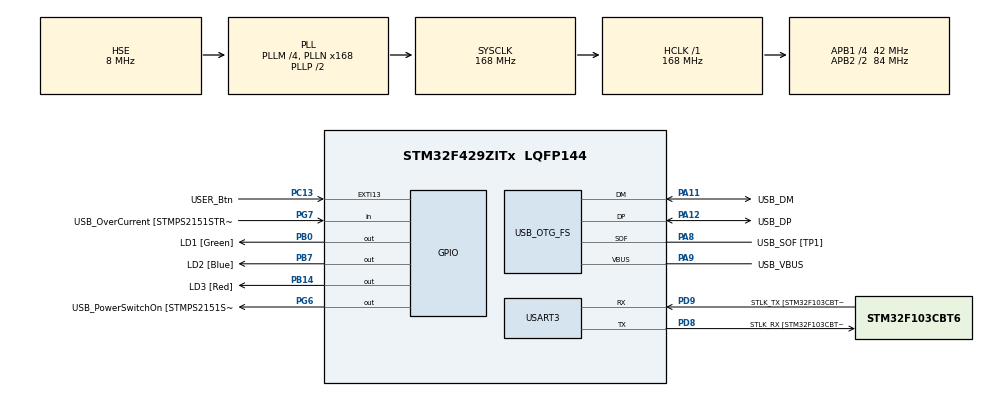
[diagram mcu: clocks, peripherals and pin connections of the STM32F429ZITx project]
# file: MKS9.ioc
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Mcu.Family=STM32F4
Mcu.Name=STM32F429ZITx
Mcu.Package=LQFP144
NVIC.OTG_FS_IRQn=true\:0\:0\:false\:false\:true\:false\:true\:true
NVIC.PriorityGroup=NVIC_PRIORITYGROUP_4
PA1.GPIO_Label=RMII_REF_CLK [LAN8742A-CZ-TR_REFCLK0]
PA1.Signal=ETH_REF_CLK
PA10.GPIO_Label=USB_ID
PA10.Signal=USB_OTG_FS_ID
PA11.GPIO_Label=USB_DM
PA11.Mode=Device_Only
PA11.Signal=USB_OTG_FS_DM
PA12.GPIO_Label=USB_DP
PA12.Mode=Device_Only
PA12.Signal=USB_OTG_FS_DP
PA13.GPIO_Label=TMS
PA13.Mode=Serial_Wire
PA13.Signal=SYS_JTMS-SWDIO
PA14.GPIO_Label=TCK
PA14.Mode=Serial_Wire
PA14.Signal=SYS_JTCK-SWCLK
PA2.GPIO_Label=RMII_MDIO [LAN8742A-CZ-TR_MDIO]
PA2.Signal=ETH_MDIO
PA7.GPIO_Label=RMII_CRS_DV [LAN8742A-CZ-TR_CRS_DV]
PA7.Signal=ETH_CRS_DV
PA8.GPIO_Label=USB_SOF [TP1]
PA8.Mode=Activate_SOF_FS
PA8.Signal=USB_OTG_FS_SOF
PA9.GPIO_Label=USB_VBUS
PA9.Mode=Activate_VBUS
PA9.Signal=USB_OTG_FS_VBUS
PB0.GPIO_Label=LD1 [Green]
PB0.Signal=GPIO_Output
PB13.GPIO_Label=RMII_TXD1 [LAN8742A-CZ-TR_TXD1]
PB13.Signal=ETH_TXD1
PB14.GPIO_Label=LD3 [Red]
PB14.Signal=GPIO_Output
PB7.GPIO_Label=LD2 [Blue]
PB7.Signal=GPIO_Output
PC1.GPIO_Label=RMII_MDC [LAN8742A-CZ-TR_MDC]
PC1.Signal=ETH_MDC
PC13.GPIO_Label=USER_Btn
PC13.Signal=GPXTI13
PC14/OSC32_IN.Mode=LSE-External-Oscillator
PC14/OSC32_IN.Signal=RCC_OSC32_IN
PC15/OSC32_OUT.Mode=LSE-External-Oscillator
PC15/OSC32_OUT.Signal=RCC_OSC32_OUT
PC4.GPIO_Label=RMII_RXD0 [LAN8742A-CZ-TR_RXD0]
PC4.Signal=ETH_RXD0
PC5.GPIO_Label=RMII_RXD1 [LAN8742A-CZ-TR_RXD1]
PC5.Signal=ETH_RXD1
PD8.GPIO_Label=STLK_RX [STM32F103CBT6_PA3]
PD8.Mode=Asynchronous
PD8.Signal=USART3_TX
PD9.GPIO_Label=STLK_TX [STM32F103CBT6_PA2]
PD9.Mode=Asynchronous
PD9.Signal=USART3_RX
PG11.GPIO_Label=RMII_TX_EN [LAN8742A-CZ-TR_TXEN]
PG11.Signal=ETH_TX_EN
PG13.GPIO_Label=RMII_TXD0 [LAN8742A-CZ-TR_TXD0]
PG13.Signal=ETH_TXD0
PG6.GPIO_Label=USB_PowerSwitchOn [STMPS2151STR_EN]
PG6.Signal=GPIO_Output
PG7.GPIO_Label=USB_OverCurrent [STMPS2151STR_FAULT]
PG7.Signal=GPIO_Input
PH0/OSC_IN.GPIO_Label=MCO [STM32F103CBT6_PA8]
PH0/OSC_IN.Mode=HSE-External-Clock-Source
PH0/OSC_IN.Signal=RCC_OSC_IN
PH1/OSC_OUT.Mode=HSE-External-Clock-Source
PH1/OSC_OUT.Signal=RCC_OSC_OUT
ProjectManager.HeapSize=0x200
ProjectManager.StackSize=0x400
ProjectManager.TargetToolchain=STM32CubeIDE
RCC.48MHZClocksFreq_Value=48000000
RCC.AHBFreq_Value=168000000
RCC.APB1CLKDivider=RCC_HCLK_DIV4
RCC.APB1Freq_Value=42000000
RCC.APB1TimFreq_Value=84000000
RCC.APB2CLKDivider=RCC_HCLK_DIV2
RCC.APB2Freq_Value=84000000
RCC.APB2TimCLKDivider=2
RCC.APB2TimFreq_Value=168000000
RCC.CortexFreq_Value=168000000
RCC.HCLKFreq_Value=168000000
RCC.HSE_VALUE=8000000
RCC.HSI_VALUE=16000000
RCC.PLLM=4
RCC.PLLMUL=RCC_PLL_MUL9
RCC.PLLN=168
RCC.PLLQ=7
RCC.PRESCALERUSB=RCC_USBCLKSOURCE_PLL_DIV1_5
RCC.SYSCLKFreq_VALUE=168000000
RCC.SYSCLKSource=RCC_SYSCLKSOURCE_PLLCLK
RCC.SYSCLKSourceVirtual=RCC_SYSCLKSOURCE_PLLCLK
RCC.USBFreq_Value=48000000
RCC.VCOOutputFreq_Value=336000000
USART3.VirtualMode=VM_ASYNC
USB_DEVICE.CLASS_NAME_FS=HID
USB_DEVICE.VirtualMode-HID_FS=Hid
USB_DEVICE.VirtualModeFS=Hid_FS
USB_OTG_FS.VirtualMode=Device_Only
VP_USB_DEVICE_VS_USB_DEVICE_HID_FS.Mode=HID_FS
board=NUCLEO-F429ZI

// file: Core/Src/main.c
/* USER CODE BEGIN Header */
/**
  ******************************************************************************
  * @file           : main.c
  * @brief          : Main program body
  ******************************************************************************
  * @attention
  *
  * Copyright (c) 2025 STMicroelectronics.
  * All rights reserved.
  *
  * This software is licensed under terms that can be found in the LICENSE file
  * in the root directory of this software component.
  * If no LICENSE file comes with this software, it is provided AS-IS.
  *
  ******************************************************************************
  */
/* USER CODE END Header */
#include "main.h"
#include "usb_device.h"

/* USER CODE BEGIN Includes */
#include "usbd_hid.h"
#include <math.h>
#include <stdbool.h>
/* USER CODE END Includes */

UART_HandleTypeDef huart3;

/* USER CODE BEGIN PV */
extern USBD_HandleTypeDef hUsbDeviceFS;

/* USER CODE END PV */

void SystemClock_Config(void);
static void MX_GPIO_Init(void);
static void MX_USART3_UART_Init(void);

int main(void)
{

  /* MCU Configuration--------------------------------------------------------*/

  /* Reset of all peripherals, Initializes the Flash interface and the Systick. */
  HAL_Init();

  /* Configure the system clock */
  SystemClock_Config();

  /* Initialize all configured peripherals */
  MX_GPIO_Init();
  MX_USART3_UART_Init();
  MX_USB_DEVICE_Init();
  /* USER CODE BEGIN 2 */

  void step(int x, int y, bool btn) {
	  uint8_t buff[4];
	  buff[0] = btn; // press the left button
	  buff[1] = (int8_t)(x); // shift X +10
	  buff[2] = (int8_t)(y); // shift Y -3
	  buff[3] = 0; // no scroll
	  USBD_HID_SendReport(&hUsbDeviceFS, buff, sizeof(buff));
	  HAL_Delay(USBD_HID_GetPollingInterval(&hUsbDeviceFS));
  }

  void circle(int16_t radius) {
	   int16_t sx = 0;
	   int16_t sy = 0;

	  for(uint16_t phi = 0; phi <= 360; phi += 3){
		  float x = radius*cosf(phi*3.14159/180);
		  float y = radius*sinf(phi*3.14159/180);
		  step((int8_t)(x-sx), (int8_t)(y-sy), 1);
		  sx = x;
		  sy = y;
	  }
	  step(0,0,0);

  }

  void mouth(int16_t radius) {
	  int16_t sx = radius;
	  int16_t sy = 0;

	  for(int16_t phi = 0; phi >= -180; phi -= 3){
		  float x = radius*cosf(phi*3.14159/180);
		  float y = -radius*sinf(phi*3.14159/180);
		  step((int8_t)(x-sx), (int8_t)(y-sy), 1);
		  sx = x;
		  sy = y;
	  }
	  step(0,0,0);

    }

  void smile(int16_t radius) {
	  circle(radius);
	  step(radius+50, 0, 1);
	  step(0, -radius/3, 1);
	  step(0,0,0);
	  step(radius, 0, 0);
	  circle(radius/10);
	  step(-radius, 0, 0);
	  circle(radius/10);
	  step(0, -radius, 0);
	  step(0,0,0);
	  HAL_Delay(50);
	  step(0,0,1);
	  mouth(radius/2);

	  //step(-radius/2, 0, 0);
	  //circle(radius/6);
	  //step(radius, 0, 0);
	  //circle(radius/6);
  }

  /* USER CODE END 2 */

  /* Infinite loop */
  /* USER CODE BEGIN WHILE */
  while (1)
  {
	  if(HAL_GPIO_ReadPin(USER_Btn_GPIO_Port, USER_Btn_Pin) == 1) {
		  smile(150);
	  }

    /* USER CODE END WHILE */

  }
}

void SystemClock_Config(void)
{
  RCC_OscInitTypeDef RCC_OscInitStruct = {0};
  RCC_ClkInitTypeDef RCC_ClkInitStruct = {0};

  /** Configure the main internal regulator output voltage
  */
  __HAL_RCC_PWR_CLK_ENABLE();
  __HAL_PWR_VOLTAGESCALING_CONFIG(PWR_REGULATOR_VOLTAGE_SCALE1);

  /** Initializes the RCC Oscillators according to the specified parameters
  * in the RCC_OscInitTypeDef structure.
  */
  RCC_OscInitStruct.OscillatorType = RCC_OSCILLATORTYPE_HSE;
  RCC_OscInitStruct.HSEState = RCC_HSE_BYPASS;
  RCC_OscInitStruct.PLL.PLLState = RCC_PLL_ON;
  RCC_OscInitStruct.PLL.PLLSource = RCC_PLLSOURCE_HSE;
  RCC_OscInitStruct.PLL.PLLM = 4;
  RCC_OscInitStruct.PLL.PLLN = 168;
  RCC_OscInitStruct.PLL.PLLP = RCC_PLLP_DIV2;
  RCC_OscInitStruct.PLL.PLLQ = 7;
  if (HAL_RCC_OscConfig(&RCC_OscInitStruct) != HAL_OK)
  {
    Error_Handler();
  }

  /** Initializes the CPU, AHB and APB buses clocks
  */
  RCC_ClkInitStruct.ClockType = RCC_CLOCKTYPE_HCLK|RCC_CLOCKTYPE_SYSCLK
                              |RCC_CLOCKTYPE_PCLK1|RCC_CLOCKTYPE_PCLK2;
  RCC_ClkInitStruct.SYSCLKSource = RCC_SYSCLKSOURCE_PLLCLK;
  RCC_ClkInitStruct.AHBCLKDivider = RCC_SYSCLK_DIV1;
  RCC_ClkInitStruct.APB1CLKDivider = RCC_HCLK_DIV4;
  RCC_ClkInitStruct.APB2CLKDivider = RCC_HCLK_DIV2;

  if (HAL_RCC_ClockConfig(&RCC_ClkInitStruct, FLASH_LATENCY_5) != HAL_OK)
  {
    Error_Handler();
  }
}

static void MX_USART3_UART_Init(void)
{

  huart3.Instance = USART3;
  huart3.Init.BaudRate = 115200;
  huart3.Init.WordLength = UART_WORDLENGTH_8B;
  huart3.Init.StopBits = UART_STOPBITS_1;
  huart3.Init.Parity = UART_PARITY_NONE;
  huart3.Init.Mode = UART_MODE_TX_RX;
  huart3.Init.HwFlowCtl = UART_HWCONTROL_NONE;
  huart3.Init.OverSampling = UART_OVERSAMPLING_16;
  if (HAL_UART_Init(&huart3) != HAL_OK)
  {
    Error_Handler();
  }

}

static void MX_GPIO_Init(void)
{
  GPIO_InitTypeDef GPIO_InitStruct = {0};

  /* GPIO Ports Clock Enable */
  __HAL_RCC_GPIOC_CLK_ENABLE();
  __HAL_RCC_GPIOH_CLK_ENABLE();
  __HAL_RCC_GPIOA_CLK_ENABLE();
  __HAL_RCC_GPIOB_CLK_ENABLE();
  __HAL_RCC_GPIOD_CLK_ENABLE();
  __HAL_RCC_GPIOG_CLK_ENABLE();

  /*Configure GPIO pin Output Level */
  HAL_GPIO_WritePin(GPIOB, LD1_Pin|LD3_Pin|LD2_Pin, GPIO_PIN_RESET);

  /*Configure GPIO pin Output Level */
  HAL_GPIO_WritePin(USB_PowerSwitchOn_GPIO_Port, USB_PowerSwitchOn_Pin, GPIO_PIN_RESET);

  /*Configure GPIO pin : USER_Btn_Pin */
  GPIO_InitStruct.Pin = USER_Btn_Pin;
  GPIO_InitStruct.Mode = GPIO_MODE_IT_RISING;
  GPIO_InitStruct.Pull = GPIO_NOPULL;
  HAL_GPIO_Init(USER_Btn_GPIO_Port, &GPIO_InitStruct);

  /*Configure GPIO pins : RMII_MDC_Pin RMII_RXD0_Pin RMII_RXD1_Pin */
  GPIO_InitStruct.Pin = RMII_MDC_Pin|RMII_RXD0_Pin|RMII_RXD1_Pin;
  GPIO_InitStruct.Mode = GPIO_MODE_AF_PP;
  GPIO_InitStruct.Pull = GPIO_NOPULL;
  GPIO_InitStruct.Speed = GPIO_SPEED_FREQ_VERY_HIGH;
  GPIO_InitStruct.Alternate = GPIO_AF11_ETH;
  HAL_GPIO_Init(GPIOC, &GPIO_InitStruct);

  /*Configure GPIO pins : RMII_REF_CLK_Pin RMII_MDIO_Pin RMII_CRS_DV_Pin */
  GPIO_InitStruct.Pin = RMII_REF_CLK_Pin|RMII_MDIO_Pin|RMII_CRS_DV_Pin;
  GPIO_InitStruct.Mode = GPIO_MODE_AF_PP;
  GPIO_InitStruct.Pull = GPIO_NOPULL;
  GPIO_InitStruct.Speed = GPIO_SPEED_FREQ_VERY_HIGH;
  GPIO_InitStruct.Alternate = GPIO_AF11_ETH;
  HAL_GPIO_Init(GPIOA, &GPIO_InitStruct);

  /*Configure GPIO pins : LD1_Pin LD3_Pin LD2_Pin */
  GPIO_InitStruct.Pin = LD1_Pin|LD3_Pin|LD2_Pin;
  GPIO_InitStruct.Mode = GPIO_MODE_OUTPUT_PP;
  GPIO_InitStruct.Pull = GPIO_NOPULL;
  GPIO_InitStruct.Speed = GPIO_SPEED_FREQ_LOW;
  HAL_GPIO_Init(GPIOB, &GPIO_InitStruct);

  /*Configure GPIO pin : RMII_TXD1_Pin */
  GPIO_InitStruct.Pin = RMII_TXD1_Pin;
  GPIO_InitStruct.Mode = GPIO_MODE_AF_PP;
  GPIO_InitStruct.Pull = GPIO_NOPULL;
  GPIO_InitStruct.Speed = GPIO_SPEED_FREQ_VERY_HIGH;
  GPIO_InitStruct.Alternate = GPIO_AF11_ETH;
  HAL_GPIO_Init(RMII_TXD1_GPIO_Port, &GPIO_InitStruct);

  /*Configure GPIO pin : USB_PowerSwitchOn_Pin */
  GPIO_InitStruct.Pin = USB_PowerSwitchOn_Pin;
  GPIO_InitStruct.Mode = GPIO_MODE_OUTPUT_PP;
  GPIO_InitStruct.Pull = GPIO_NOPULL;
  GPIO_InitStruct.Speed = GPIO_SPEED_FREQ_LOW;
  HAL_GPIO_Init(USB_PowerSwitchOn_GPIO_Port, &GPIO_InitStruct);

  /*Configure GPIO pin : USB_OverCurrent_Pin */
  GPIO_InitStruct.Pin = USB_OverCurrent_Pin;
  GPIO_InitStruct.Mode = GPIO_MODE_INPUT;
  GPIO_InitStruct.Pull = GPIO_NOPULL;
  HAL_GPIO_Init(USB_OverCurrent_GPIO_Port, &GPIO_InitStruct);

  /*Configure GPIO pins : RMII_TX_EN_Pin RMII_TXD0_Pin */
  GPIO_InitStruct.Pin = RMII_TX_EN_Pin|RMII_TXD0_Pin;
  GPIO_InitStruct.Mode = GPIO_MODE_AF_PP;
  GPIO_InitStruct.Pull = GPIO_NOPULL;
  GPIO_InitStruct.Speed = GPIO_SPEED_FREQ_VERY_HIGH;
  GPIO_InitStruct.Alternate = GPIO_AF11_ETH;
  HAL_GPIO_Init(GPIOG, &GPIO_InitStruct);

}

void Error_Handler(void)
{
  __disable_irq();
  while (1)
  {
  }
}
